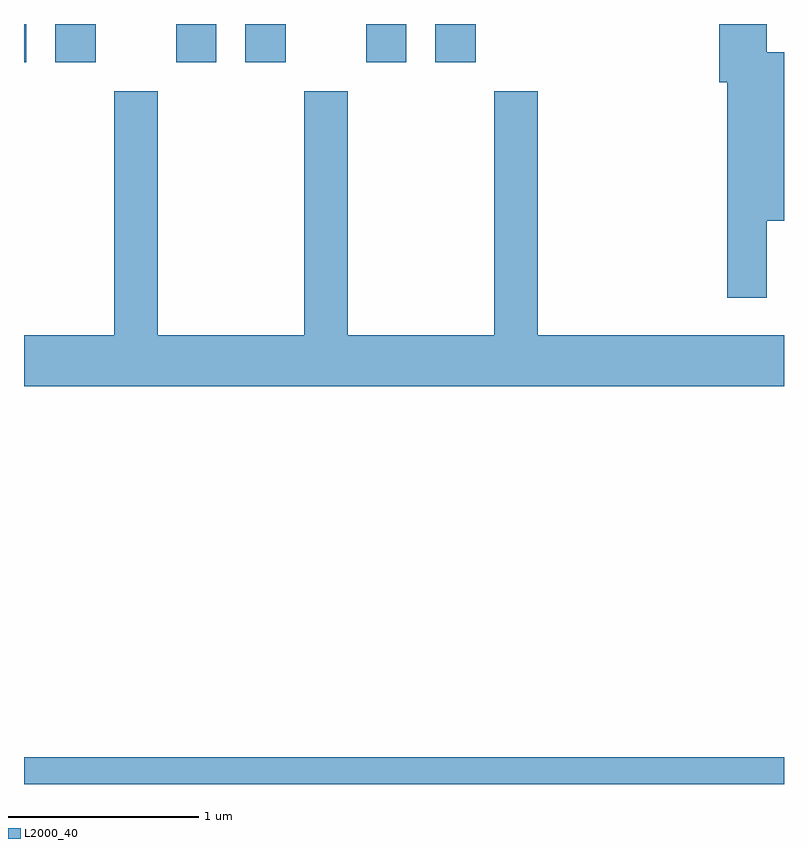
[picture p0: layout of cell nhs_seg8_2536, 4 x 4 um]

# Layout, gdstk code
import gdstk
lib = gdstk.Library(unit=1e-6, precision=1e-09)
def R(c, l, rs):  # rectangles x0, y0, x1, y1
    for r in rs: c.add(gdstk.rectangle(r[:2], r[2:], *l))
def P(c, l, *ps):  # polygons
    for p in ps: c.add(gdstk.Polygon(p, *l))
L2000_40 = (2000, 40)

nhs_seg8_2536 = lib.new_cell('nhs_seg8_2536')
R(nhs_seg8_2536, L2000_40, [(261.611,1814.342,265.611,1814.484), (261.611,1818.141,261.624,1818.342), (261.776,1818.141,261.989,1818.342), (262.411,1818.141,262.624,1818.342), (262.776,1818.141,262.989,1818.342), (263.411,1818.141,263.624,1818.342), (263.776,1818.141,263.989,1818.342)])
P(nhs_seg8_2536, L2000_40, [(265.519,1817.306),(265.611,1817.306),(265.611,1818.194),(265.519,1818.194),(265.519,1818.342),(265.271,1818.342),(265.271,1818.036),(265.311,1818.036),(265.311,1816.901),(265.519,1816.901)],
  [(262.086,1817.989),(262.086,1816.704),(261.611,1816.704),(261.611,1816.436),(265.611,1816.436),(265.611,1816.704),(264.314,1816.704),(264.314,1817.989),(264.086,1817.989),(264.086,1816.704),(263.314,1816.704),(263.314,1817.989),(263.086,1817.989),(263.086,1816.704),(262.314,1816.704),(262.314,1817.989)])

lib.write_gds('nhs_seg8_2536.gds')
